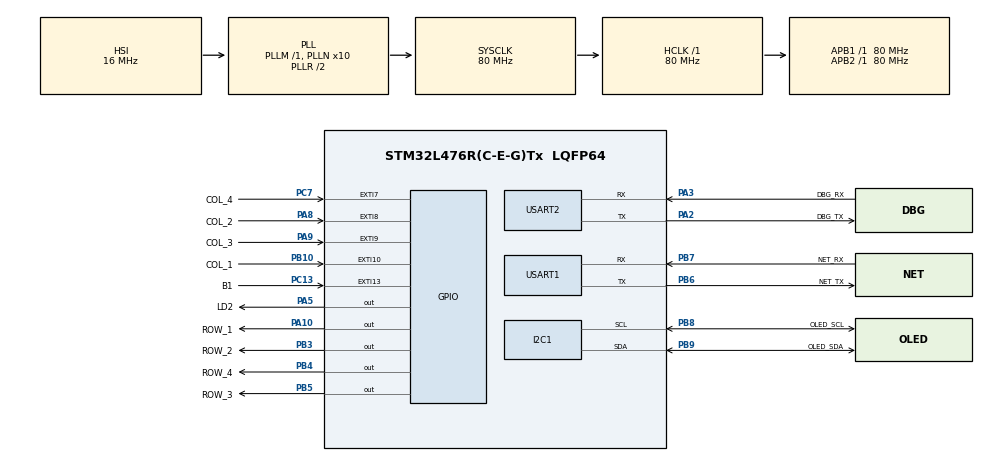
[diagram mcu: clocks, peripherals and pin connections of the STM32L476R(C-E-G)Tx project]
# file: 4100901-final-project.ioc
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I2C1.Timing=0x10909CEC
Mcu.Family=STM32L4
Mcu.Name=STM32L476R(C-E-G)Tx
Mcu.Package=LQFP64
NVIC.EXTI15_10_IRQn=true\:0\:0\:false\:false\:true\:true\:true\:true
NVIC.EXTI9_5_IRQn=true\:0\:0\:false\:false\:true\:true\:true\:true
NVIC.PriorityGroup=NVIC_PRIORITYGROUP_4
NVIC.RTC_Alarm_IRQn=true\:0\:0\:false\:false\:true\:true\:true\:true
NVIC.USART1_IRQn=true\:0\:0\:false\:false\:true\:true\:true\:true
NVIC.USART2_IRQn=true\:0\:0\:false\:false\:true\:true\:true\:true
PA10.GPIO_Label=ROW_1
PA10.Signal=GPIO_Output
PA13\ (JTMS-SWDIO).GPIO_Label=TMS
PA13\ (JTMS-SWDIO).Mode=Serial_Wire
PA13\ (JTMS-SWDIO).Signal=SYS_JTMS-SWDIO
PA14\ (JTCK-SWCLK).GPIO_Label=TCK
PA14\ (JTCK-SWCLK).Mode=Serial_Wire
PA14\ (JTCK-SWCLK).Signal=SYS_JTCK-SWCLK
PA2.GPIO_Label=DBG_TX
PA2.GPIO_Mode=GPIO_MODE_AF_PP
PA2.GPIO_PuPd=GPIO_NOPULL
PA2.GPIO_Speed=GPIO_SPEED_FREQ_VERY_HIGH
PA2.Mode=Asynchronous
PA2.Signal=USART2_TX
PA3.GPIO_Label=DBG_RX
PA3.GPIO_Mode=GPIO_MODE_AF_PP
PA3.GPIO_PuPd=GPIO_NOPULL
PA3.GPIO_Speed=GPIO_SPEED_FREQ_VERY_HIGH
PA3.Mode=Asynchronous
PA3.Signal=USART2_RX
PA5.GPIO_Label=LD2
PA5.GPIO_ModeDefaultOutputPP=GPIO_MODE_OUTPUT_PP
PA5.GPIO_PuPd=GPIO_NOPULL
PA5.GPIO_Speed=GPIO_SPEED_FREQ_LOW
PA5.Signal=GPIO_Output
PA8.GPIO_Label=COL_2
PA8.GPIO_PuPd=GPIO_PULLDOWN
PA8.Signal=GPXTI8
PA9.GPIO_Label=COL_3
PA9.GPIO_PuPd=GPIO_PULLDOWN
PA9.Signal=GPXTI9
PB10.GPIO_Label=COL_1
PB10.GPIO_PuPd=GPIO_PULLDOWN
PB10.Signal=GPXTI10
PB3\ (JTDO-TRACESWO).GPIO_Label=ROW_2
PB3\ (JTDO-TRACESWO).Signal=GPIO_Output
PB4\ (NJTRST).GPIO_Label=ROW_4
PB4\ (NJTRST).Signal=GPIO_Output
PB5.GPIO_Label=ROW_3
PB5.Signal=GPIO_Output
PB6.GPIO_Label=NET_TX
PB6.Mode=Asynchronous
PB6.Signal=USART1_TX
PB7.GPIO_Label=NET_RX
PB7.Mode=Asynchronous
PB7.Signal=USART1_RX
PB8.GPIO_Label=OLED_SCL
PB8.Mode=I2C
PB8.Signal=I2C1_SCL
PB9.GPIO_Label=OLED_SDA
PB9.Mode=I2C
PB9.Signal=I2C1_SDA
PC13.GPIO_Label=B1
PC13.GPIO_ModeDefaultEXTI=GPIO_MODE_IT_FALLING
PC13.GPIO_PuPd=GPIO_NOPULL
PC13.Signal=GPXTI13
PC14-OSC32_IN\ (PC14).GPIO_Label=LSE_IN
PC14-OSC32_IN\ (PC14).Mode=LSE-External-Oscillator
PC14-OSC32_IN\ (PC14).Signal=RCC_OSC32_IN
PC15-OSC32_OUT\ (PC15).GPIO_Label=LSE_OUT
PC15-OSC32_OUT\ (PC15).Mode=LSE-External-Oscillator
PC15-OSC32_OUT\ (PC15).Signal=RCC_OSC32_OUT
PC7.GPIO_Label=COL_4
PC7.GPIO_PuPd=GPIO_PULLDOWN
PC7.Signal=GPXTI7
ProjectManager.HeapSize=0x200
ProjectManager.StackSize=0x400
ProjectManager.TargetToolchain=STM32CubeIDE
RCC.ADCFreq_Value=64000000
RCC.AHBFreq_Value=80000000
RCC.APB1Freq_Value=80000000
RCC.APB1TimFreq_Value=80000000
RCC.APB2Freq_Value=80000000
RCC.APB2TimFreq_Value=80000000
RCC.CortexFreq_Value=80000000
RCC.HCLKFreq_Value=80000000
RCC.HSE_VALUE=8000000
RCC.HSI_VALUE=16000000
RCC.MSI_VALUE=4000000
RCC.PLLN=10
RCC.PLLSourceVirtual=RCC_PLLSOURCE_HSI
RCC.PREFETCH_ENABLE=1
RCC.SYSCLKFreq_VALUE=80000000
RCC.SYSCLKSource=RCC_SYSCLKSOURCE_PLLCLK
RCC.USBFreq_Value=64000000
RCC.VCOOutputFreq_Value=160000000
RTC.Alarm-Alarm\ A=RTC_ALARM_A
RTC.Seconds_A-Alarm\ A=0
USART1.VirtualMode-Asynchronous=VM_ASYNC
USART2.VirtualMode-Asynchronous=VM_ASYNC
VP_RTC_VS_RTC_Activate.Mode=RTC_Enabled
VP_RTC_VS_RTC_Alarm_A_Intern.Mode=Alarm A
VP_RTC_VS_RTC_Calendar.Mode=RTC_Calendar
board=NUCLEO-L476RG

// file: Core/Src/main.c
/* USER CODE BEGIN Header */
/**
  ******************************************************************************
  * @file           : main.c
  * @brief          : Main program body
  ******************************************************************************
  * @attention
  *
  * Copyright (c) 2023 STMicroelectronics.
  * All rights reserved.
  *
  * This software is licensed under terms that can be found in the LICENSE file
  * in the root directory of this software component.
  * If no LICENSE file comes with this software, it is provided AS-IS.
  *
  ******************************************************************************
  */
/* USER CODE END Header */
#include "main.h"

/* USER CODE BEGIN Includes */
#include <stdio.h>

#include "lock.h"
#include "keypad.h"

/* USER CODE END Includes */

I2C_HandleTypeDef hi2c1;

RTC_HandleTypeDef hrtc;

/* USER CODE BEGIN PV */
volatile uint16_t keypad_event = KEYPAD_EVENT_NONE;

/* USER CODE END PV */

void SystemClock_Config(void);
static void MX_GPIO_Init(void);
static void MX_USART2_UART_Init(void);
static void MX_I2C1_Init(void);
static void MX_USART1_UART_Init(void);
static void MX_RTC_Init(void);

/* USER CODE BEGIN 0 */
int _write(int file, char *ptr, int len)
{
  // send each byte in blocking mode
  for (uint8_t idx = 0; idx < len; idx++) {
	  while (LL_USART_IsActiveFlag_TXE(USART2) == 0) {
		  // wait until Tx Empty flag becomes true
		  // TODO: add timeout
	  }
	  LL_USART_TransmitData8(USART2, ptr[idx]);
  }
  return len;
}

void keypad_it_callback(uint16_t pin)
{
	keypad_event = pin;
}

/* USER CODE END 0 */

int main(void)
{

  /* MCU Configuration--------------------------------------------------------*/

  /* Reset of all peripherals, Initializes the Flash interface and the Systick. */
  HAL_Init();

  /* Configure the system clock */
  SystemClock_Config();

  /* Initialize all configured peripherals */
  MX_GPIO_Init();
  MX_USART2_UART_Init();
  MX_I2C1_Init();
  MX_USART1_UART_Init();
  MX_RTC_Init();
  /* USER CODE BEGIN 2 */
  lock_init();
  keypad_init();

  /* USER CODE END 2 */

  /* Infinite loop */
  /* USER CODE BEGIN WHILE */
  printf("Started\r\n");
  while (1)
  {

// deteccion del keypad.
	  uint8_t key_pressed = keypad_run(&keypad_event);
	  if (key_pressed != KEY_PRESSED_NONE) {
		  lock_sequence_handler(key_pressed);
	  }
// registro

    /* USER CODE END WHILE */

  }
}

void SystemClock_Config(void)
{
  RCC_OscInitTypeDef RCC_OscInitStruct = {0};
  RCC_ClkInitTypeDef RCC_ClkInitStruct = {0};

  /** Configure the main internal regulator output voltage
  */
  if (HAL_PWREx_ControlVoltageScaling(PWR_REGULATOR_VOLTAGE_SCALE1) != HAL_OK)
  {
    Error_Handler();
  }

  /** Initializes the RCC Oscillators according to the specified parameters
  * in the RCC_OscInitTypeDef structure.
  */
  RCC_OscInitStruct.OscillatorType = RCC_OSCILLATORTYPE_HSI|RCC_OSCILLATORTYPE_LSI;
  RCC_OscInitStruct.HSIState = RCC_HSI_ON;
  RCC_OscInitStruct.HSICalibrationValue = RCC_HSICALIBRATION_DEFAULT;
  RCC_OscInitStruct.LSIState = RCC_LSI_ON;
  RCC_OscInitStruct.PLL.PLLState = RCC_PLL_ON;
  RCC_OscInitStruct.PLL.PLLSource = RCC_PLLSOURCE_HSI;
  RCC_OscInitStruct.PLL.PLLM = 1;
  RCC_OscInitStruct.PLL.PLLN = 10;
  RCC_OscInitStruct.PLL.PLLP = RCC_PLLP_DIV7;
  RCC_OscInitStruct.PLL.PLLQ = RCC_PLLQ_DIV2;
  RCC_OscInitStruct.PLL.PLLR = RCC_PLLR_DIV2;
  if (HAL_RCC_OscConfig(&RCC_OscInitStruct) != HAL_OK)
  {
    Error_Handler();
  }

  /** Initializes the CPU, AHB and APB buses clocks
  */
  RCC_ClkInitStruct.ClockType = RCC_CLOCKTYPE_HCLK|RCC_CLOCKTYPE_SYSCLK
                              |RCC_CLOCKTYPE_PCLK1|RCC_CLOCKTYPE_PCLK2;
  RCC_ClkInitStruct.SYSCLKSource = RCC_SYSCLKSOURCE_PLLCLK;
  RCC_ClkInitStruct.AHBCLKDivider = RCC_SYSCLK_DIV1;
  RCC_ClkInitStruct.APB1CLKDivider = RCC_HCLK_DIV1;
  RCC_ClkInitStruct.APB2CLKDivider = RCC_HCLK_DIV1;

  if (HAL_RCC_ClockConfig(&RCC_ClkInitStruct, FLASH_LATENCY_4) != HAL_OK)
  {
    Error_Handler();
  }
}

static void MX_I2C1_Init(void)
{

  hi2c1.Instance = I2C1;
  hi2c1.Init.Timing = 0x10909CEC;
  hi2c1.Init.OwnAddress1 = 0;
  hi2c1.Init.AddressingMode = I2C_ADDRESSINGMODE_7BIT;
  hi2c1.Init.DualAddressMode = I2C_DUALADDRESS_DISABLE;
  hi2c1.Init.OwnAddress2 = 0;
  hi2c1.Init.OwnAddress2Masks = I2C_OA2_NOMASK;
  hi2c1.Init.GeneralCallMode = I2C_GENERALCALL_DISABLE;
  hi2c1.Init.NoStretchMode = I2C_NOSTRETCH_DISABLE;
  if (HAL_I2C_Init(&hi2c1) != HAL_OK)
  {
    Error_Handler();
  }

  /** Configure Analogue filter
  */
  if (HAL_I2CEx_ConfigAnalogFilter(&hi2c1, I2C_ANALOGFILTER_ENABLE) != HAL_OK)
  {
    Error_Handler();
  }

  /** Configure Digital filter
  */
  if (HAL_I2CEx_ConfigDigitalFilter(&hi2c1, 0) != HAL_OK)
  {
    Error_Handler();
  }

}

static void MX_RTC_Init(void)
{

  RTC_TimeTypeDef sTime = {0};
  RTC_DateTypeDef sDate = {0};
  RTC_AlarmTypeDef sAlarm = {0};

  /** Initialize RTC Only
  */
  hrtc.Instance = RTC;
  hrtc.Init.HourFormat = RTC_HOURFORMAT_24;
  hrtc.Init.AsynchPrediv = 127;
  hrtc.Init.SynchPrediv = 255;
  hrtc.Init.OutPut = RTC_OUTPUT_DISABLE;
  hrtc.Init.OutPutRemap = RTC_OUTPUT_REMAP_NONE;
  hrtc.Init.OutPutPolarity = RTC_OUTPUT_POLARITY_HIGH;
  hrtc.Init.OutPutType = RTC_OUTPUT_TYPE_OPENDRAIN;
  if (HAL_RTC_Init(&hrtc) != HAL_OK)
  {
    Error_Handler();
  }

  /** Initialize RTC and set the Time and Date
  */
  sTime.Hours = 0x0;
  sTime.Minutes = 0x0;
  sTime.Seconds = 0x0;
  sTime.DayLightSaving = RTC_DAYLIGHTSAVING_NONE;
  sTime.StoreOperation = RTC_STOREOPERATION_RESET;
  if (HAL_RTC_SetTime(&hrtc, &sTime, RTC_FORMAT_BCD) != HAL_OK)
  {
    Error_Handler();
  }
  sDate.WeekDay = RTC_WEEKDAY_MONDAY;
  sDate.Month = RTC_MONTH_JANUARY;
  sDate.Date = 0x1;
  sDate.Year = 0x0;

  if (HAL_RTC_SetDate(&hrtc, &sDate, RTC_FORMAT_BCD) != HAL_OK)
  {
    Error_Handler();
  }

  /** Enable the Alarm A
  */
  sAlarm.AlarmTime.Hours = 0x0;
  sAlarm.AlarmTime.Minutes = 0x0;
  sAlarm.AlarmTime.Seconds = 0x0;
  sAlarm.AlarmTime.SubSeconds = 0x0;
  sAlarm.AlarmTime.DayLightSaving = RTC_DAYLIGHTSAVING_NONE;
  sAlarm.AlarmTime.StoreOperation = RTC_STOREOPERATION_RESET;
  sAlarm.AlarmMask = RTC_ALARMMASK_NONE;
  sAlarm.AlarmSubSecondMask = RTC_ALARMSUBSECONDMASK_ALL;
  sAlarm.AlarmDateWeekDaySel = RTC_ALARMDATEWEEKDAYSEL_DATE;
  sAlarm.AlarmDateWeekDay = 0x1;
  sAlarm.Alarm = RTC_ALARM_A;
  if (HAL_RTC_SetAlarm_IT(&hrtc, &sAlarm, RTC_FORMAT_BCD) != HAL_OK)
  {
    Error_Handler();
  }

}

static void MX_USART1_UART_Init(void)
{

  LL_USART_InitTypeDef USART_InitStruct = {0};

  LL_GPIO_InitTypeDef GPIO_InitStruct = {0};
  RCC_PeriphCLKInitTypeDef PeriphClkInit = {0};

  /** Initializes the peripherals clock
  */
  PeriphClkInit.PeriphClockSelection = RCC_PERIPHCLK_USART1;
  PeriphClkInit.Usart1ClockSelection = RCC_USART1CLKSOURCE_PCLK2;
  if (HAL_RCCEx_PeriphCLKConfig(&PeriphClkInit) != HAL_OK)
  {
    Error_Handler();
  }

  /* Peripheral clock enable */
  LL_APB2_GRP1_EnableClock(LL_APB2_GRP1_PERIPH_USART1);

  LL_AHB2_GRP1_EnableClock(LL_AHB2_GRP1_PERIPH_GPIOB);
  /**USART1 GPIO Configuration
  PB6   ------> USART1_TX
  PB7   ------> USART1_RX
  */
  GPIO_InitStruct.Pin = NET_TX_Pin|NET_RX_Pin;
  GPIO_InitStruct.Mode = LL_GPIO_MODE_ALTERNATE;
  GPIO_InitStruct.Speed = LL_GPIO_SPEED_FREQ_VERY_HIGH;
  GPIO_InitStruct.OutputType = LL_GPIO_OUTPUT_PUSHPULL;
  GPIO_InitStruct.Pull = LL_GPIO_PULL_NO;
  GPIO_InitStruct.Alternate = LL_GPIO_AF_7;
  LL_GPIO_Init(GPIOB, &GPIO_InitStruct);

  /* USART1 interrupt Init */
  NVIC_SetPriority(USART1_IRQn, NVIC_EncodePriority(NVIC_GetPriorityGrouping(),0, 0));
  NVIC_EnableIRQ(USART1_IRQn);

  USART_InitStruct.BaudRate = 115200;
  USART_InitStruct.DataWidth = LL_USART_DATAWIDTH_8B;
  USART_InitStruct.StopBits = LL_USART_STOPBITS_1;
  USART_InitStruct.Parity = LL_USART_PARITY_NONE;
  USART_InitStruct.TransferDirection = LL_USART_DIRECTION_TX_RX;
  USART_InitStruct.HardwareFlowControl = LL_USART_HWCONTROL_NONE;
  USART_InitStruct.OverSampling = LL_USART_OVERSAMPLING_16;
  LL_USART_Init(USART1, &USART_InitStruct);
  LL_USART_ConfigAsyncMode(USART1);
  LL_USART_Enable(USART1);

}

static void MX_USART2_UART_Init(void)
{

  LL_USART_InitTypeDef USART_InitStruct = {0};

  LL_GPIO_InitTypeDef GPIO_InitStruct = {0};
  RCC_PeriphCLKInitTypeDef PeriphClkInit = {0};

  /** Initializes the peripherals clock
  */
  PeriphClkInit.PeriphClockSelection = RCC_PERIPHCLK_USART2;
  PeriphClkInit.Usart2ClockSelection = RCC_USART2CLKSOURCE_PCLK1;
  if (HAL_RCCEx_PeriphCLKConfig(&PeriphClkInit) != HAL_OK)
  {
    Error_Handler();
  }

  /* Peripheral clock enable */
  LL_APB1_GRP1_EnableClock(LL_APB1_GRP1_PERIPH_USART2);

  LL_AHB2_GRP1_EnableClock(LL_AHB2_GRP1_PERIPH_GPIOA);
  /**USART2 GPIO Configuration
  PA2   ------> USART2_TX
  PA3   ------> USART2_RX
  */
  GPIO_InitStruct.Pin = DBG_TX_Pin|DBG_RX_Pin;
  GPIO_InitStruct.Mode = LL_GPIO_MODE_ALTERNATE;
  GPIO_InitStruct.Speed = LL_GPIO_SPEED_FREQ_VERY_HIGH;
  GPIO_InitStruct.OutputType = LL_GPIO_OUTPUT_PUSHPULL;
  GPIO_InitStruct.Pull = LL_GPIO_PULL_NO;
  GPIO_InitStruct.Alternate = LL_GPIO_AF_7;
  LL_GPIO_Init(GPIOA, &GPIO_InitStruct);

  /* USART2 interrupt Init */
  NVIC_SetPriority(USART2_IRQn, NVIC_EncodePriority(NVIC_GetPriorityGrouping(),0, 0));
  NVIC_EnableIRQ(USART2_IRQn);

  USART_InitStruct.BaudRate = 115200;
  USART_InitStruct.DataWidth = LL_USART_DATAWIDTH_8B;
  USART_InitStruct.StopBits = LL_USART_STOPBITS_1;
  USART_InitStruct.Parity = LL_USART_PARITY_NONE;
  USART_InitStruct.TransferDirection = LL_USART_DIRECTION_TX_RX;
  USART_InitStruct.HardwareFlowControl = LL_USART_HWCONTROL_NONE;
  USART_InitStruct.OverSampling = LL_USART_OVERSAMPLING_16;
  LL_USART_Init(USART2, &USART_InitStruct);
  LL_USART_ConfigAsyncMode(USART2);
  LL_USART_Enable(USART2);

}

static void MX_GPIO_Init(void)
{
  LL_EXTI_InitTypeDef EXTI_InitStruct = {0};
  LL_GPIO_InitTypeDef GPIO_InitStruct = {0};

  /* GPIO Ports Clock Enable */
  LL_AHB2_GRP1_EnableClock(LL_AHB2_GRP1_PERIPH_GPIOC);
  LL_AHB2_GRP1_EnableClock(LL_AHB2_GRP1_PERIPH_GPIOA);
  LL_AHB2_GRP1_EnableClock(LL_AHB2_GRP1_PERIPH_GPIOB);

  /**/
  LL_GPIO_ResetOutputPin(GPIOA, LD2_Pin|ROW_1_Pin);

  /**/
  LL_GPIO_ResetOutputPin(GPIOB, ROW_2_Pin|ROW_4_Pin|ROW_3_Pin);

  /**/
  LL_SYSCFG_SetEXTISource(LL_SYSCFG_EXTI_PORTC, LL_SYSCFG_EXTI_LINE13);

  /**/
  LL_SYSCFG_SetEXTISource(LL_SYSCFG_EXTI_PORTB, LL_SYSCFG_EXTI_LINE10);

  /**/
  LL_SYSCFG_SetEXTISource(LL_SYSCFG_EXTI_PORTC, LL_SYSCFG_EXTI_LINE7);

  /**/
  LL_SYSCFG_SetEXTISource(LL_SYSCFG_EXTI_PORTA, LL_SYSCFG_EXTI_LINE8);

  /**/
  LL_SYSCFG_SetEXTISource(LL_SYSCFG_EXTI_PORTA, LL_SYSCFG_EXTI_LINE9);

  /**/
  EXTI_InitStruct.Line_0_31 = LL_EXTI_LINE_13;
  EXTI_InitStruct.Line_32_63 = LL_EXTI_LINE_NONE;
  EXTI_InitStruct.LineCommand = ENABLE;
  EXTI_InitStruct.Mode = LL_EXTI_MODE_IT;
  EXTI_InitStruct.Trigger = LL_EXTI_TRIGGER_FALLING;
  LL_EXTI_Init(&EXTI_InitStruct);

  /**/
  EXTI_InitStruct.Line_0_31 = LL_EXTI_LINE_10;
  EXTI_InitStruct.Line_32_63 = LL_EXTI_LINE_NONE;
  EXTI_InitStruct.LineCommand = ENABLE;
  EXTI_InitStruct.Mode = LL_EXTI_MODE_IT;
  EXTI_InitStruct.Trigger = LL_EXTI_TRIGGER_RISING;
  LL_EXTI_Init(&EXTI_InitStruct);

  /**/
  EXTI_InitStruct.Line_0_31 = LL_EXTI_LINE_7;
  EXTI_InitStruct.Line_32_63 = LL_EXTI_LINE_NONE;
  EXTI_InitStruct.LineCommand = ENABLE;
  EXTI_InitStruct.Mode = LL_EXTI_MODE_IT;
  EXTI_InitStruct.Trigger = LL_EXTI_TRIGGER_RISING;
  LL_EXTI_Init(&EXTI_InitStruct);

  /**/
  EXTI_InitStruct.Line_0_31 = LL_EXTI_LINE_8;
  EXTI_InitStruct.Line_32_63 = LL_EXTI_LINE_NONE;
  EXTI_InitStruct.LineCommand = ENABLE;
  EXTI_InitStruct.Mode = LL_EXTI_MODE_IT;
  EXTI_InitStruct.Trigger = LL_EXTI_TRIGGER_RISING;
  LL_EXTI_Init(&EXTI_InitStruct);

  /**/
  EXTI_InitStruct.Line_0_31 = LL_EXTI_LINE_9;
  EXTI_InitStruct.Line_32_63 = LL_EXTI_LINE_NONE;
  EXTI_InitStruct.LineCommand = ENABLE;
  EXTI_InitStruct.Mode = LL_EXTI_MODE_IT;
  EXTI_InitStruct.Trigger = LL_EXTI_TRIGGER_RISING;
  LL_EXTI_Init(&EXTI_InitStruct);

  /**/
  LL_GPIO_SetPinPull(B1_GPIO_Port, B1_Pin, LL_GPIO_PULL_NO);

  /**/
  LL_GPIO_SetPinPull(COL_1_GPIO_Port, COL_1_Pin, LL_GPIO_PULL_DOWN);

  /**/
  LL_GPIO_SetPinPull(COL_4_GPIO_Port, COL_4_Pin, LL_GPIO_PULL_DOWN);

  /**/
  LL_GPIO_SetPinPull(COL_2_GPIO_Port, COL_2_Pin, LL_GPIO_PULL_DOWN);

  /**/
  LL_GPIO_SetPinPull(COL_3_GPIO_Port, COL_3_Pin, LL_GPIO_PULL_DOWN);

  /**/
  LL_GPIO_SetPinMode(B1_GPIO_Port, B1_Pin, LL_GPIO_MODE_INPUT);

  /**/
  LL_GPIO_SetPinMode(COL_1_GPIO_Port, COL_1_Pin, LL_GPIO_MODE_INPUT);

  /**/
  LL_GPIO_SetPinMode(COL_4_GPIO_Port, COL_4_Pin, LL_GPIO_MODE_INPUT);

  /**/
  LL_GPIO_SetPinMode(COL_2_GPIO_Port, COL_2_Pin, LL_GPIO_MODE_INPUT);

  /**/
  LL_GPIO_SetPinMode(COL_3_GPIO_Port, COL_3_Pin, LL_GPIO_MODE_INPUT);

  /**/
  GPIO_InitStruct.Pin = LD2_Pin|ROW_1_Pin;
  GPIO_InitStruct.Mode = LL_GPIO_MODE_OUTPUT;
  GPIO_InitStruct.Speed = LL_GPIO_SPEED_FREQ_LOW;
  GPIO_InitStruct.OutputType = LL_GPIO_OUTPUT_PUSHPULL;
  GPIO_InitStruct.Pull = LL_GPIO_PULL_NO;
  LL_GPIO_Init(GPIOA, &GPIO_InitStruct);

  /**/
  GPIO_InitStruct.Pin = ROW_2_Pin|ROW_4_Pin|ROW_3_Pin;
  GPIO_InitStruct.Mode = LL_GPIO_MODE_OUTPUT;
  GPIO_InitStruct.Speed = LL_GPIO_SPEED_FREQ_LOW;
  GPIO_InitStruct.OutputType = LL_GPIO_OUTPUT_PUSHPULL;
  GPIO_InitStruct.Pull = LL_GPIO_PULL_NO;
  LL_GPIO_Init(GPIOB, &GPIO_InitStruct);

  /* EXTI interrupt init*/
  NVIC_SetPriority(EXTI9_5_IRQn, NVIC_EncodePriority(NVIC_GetPriorityGrouping(),0, 0));
  NVIC_EnableIRQ(EXTI9_5_IRQn);
  NVIC_SetPriority(EXTI15_10_IRQn, NVIC_EncodePriority(NVIC_GetPriorityGrouping(),0, 0));
  NVIC_EnableIRQ(EXTI15_10_IRQn);

}

void Error_Handler(void)
{
  __disable_irq();
  while (1)
  {
  }
}
